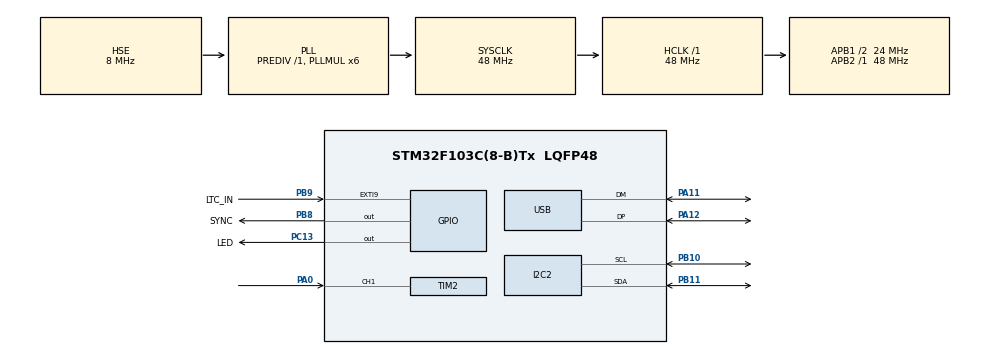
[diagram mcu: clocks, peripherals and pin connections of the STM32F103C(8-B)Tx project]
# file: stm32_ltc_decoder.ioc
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Dma.I2C2_TX.0.Direction=DMA_MEMORY_TO_PERIPH
Dma.I2C2_TX.0.Instance=DMA1_Channel4
Dma.I2C2_TX.0.MemDataAlignment=DMA_MDATAALIGN_BYTE
Dma.I2C2_TX.0.MemInc=DMA_MINC_ENABLE
Dma.I2C2_TX.0.Mode=DMA_NORMAL
Dma.I2C2_TX.0.PeriphDataAlignment=DMA_PDATAALIGN_BYTE
Dma.I2C2_TX.0.PeriphInc=DMA_PINC_DISABLE
Dma.I2C2_TX.0.Priority=DMA_PRIORITY_LOW
Dma.Request0=I2C2_TX
Mcu.Family=STM32F1
Mcu.Name=STM32F103C(8-B)Tx
Mcu.Package=LQFP48
NVIC.DMA1_Channel4_IRQn=true\:0\:0\:false\:false\:true\:false\:true\:true
NVIC.EXTI9_5_IRQn=true\:0\:0\:false\:false\:true\:true\:true\:true
NVIC.I2C2_ER_IRQn=true\:0\:0\:false\:false\:true\:true\:true\:true
NVIC.I2C2_EV_IRQn=true\:0\:0\:false\:false\:true\:true\:true\:true
NVIC.PriorityGroup=NVIC_PRIORITYGROUP_4
NVIC.RCC_IRQn=true\:0\:0\:false\:false\:true\:true\:false\:true
NVIC.TIM1_BRK_IRQn=true\:0\:0\:false\:false\:true\:true\:true\:true
NVIC.TIM1_CC_IRQn=true\:0\:0\:false\:false\:true\:true\:true\:true
NVIC.TIM1_TRG_COM_IRQn=true\:0\:0\:false\:false\:true\:true\:true\:true
NVIC.TIM1_UP_IRQn=true\:0\:0\:false\:false\:true\:true\:true\:true
NVIC.TIM2_IRQn=true\:0\:0\:false\:false\:true\:true\:true\:true
NVIC.USB_LP_CAN1_RX0_IRQn=true\:0\:0\:false\:false\:true\:false\:true\:true
PA0-WKUP.GPIO_PuPd=GPIO_PULLUP
PA0-WKUP.Signal=S_TIM2_CH1_ETR
PA11.Mode=Device
PA11.Signal=USB_DM
PA12.Mode=Device
PA12.Signal=USB_DP
PA13.Mode=Serial_Wire
PA13.Signal=SYS_JTMS-SWDIO
PA14.Mode=Serial_Wire
PA14.Signal=SYS_JTCK-SWCLK
PB10.Mode=I2C
PB10.Signal=I2C2_SCL
PB11.Mode=I2C
PB11.Signal=I2C2_SDA
PB8.GPIO_Label=SYNC
PB8.GPIO_Speed=GPIO_SPEED_FREQ_HIGH
PB8.Signal=GPIO_Output
PB9.GPIO_Label=LTC_IN
PB9.GPIO_ModeDefaultEXTI=GPIO_MODE_IT_RISING_FALLING
PB9.GPIO_PuPd=GPIO_PULLUP
PB9.Signal=GPXTI9
PC13-TAMPER-RTC.GPIO_Label=LED
PC13-TAMPER-RTC.GPIO_ModeDefaultOutputPP=GPIO_MODE_OUTPUT_OD
PC13-TAMPER-RTC.GPIO_PuPd=GPIO_NOPULL
PC13-TAMPER-RTC.Signal=GPIO_Output
PC14-OSC32_IN.Mode=LSE-External-Oscillator
PC14-OSC32_IN.Signal=RCC_OSC32_IN
PC15-OSC32_OUT.Mode=LSE-External-Oscillator
PC15-OSC32_OUT.Signal=RCC_OSC32_OUT
PD0-OSC_IN.Mode=HSE-External-Oscillator
PD0-OSC_IN.Signal=RCC_OSC_IN
PD1-OSC_OUT.Mode=HSE-External-Oscillator
PD1-OSC_OUT.Signal=RCC_OSC_OUT
ProjectManager.HeapSize=0x200
ProjectManager.StackSize=0x400
ProjectManager.TargetToolchain=STM32CubeIDE
RCC.AHBFreq_Value=48000000
RCC.APB1CLKDivider=RCC_HCLK_DIV2
RCC.APB1Freq_Value=24000000
RCC.APB1TimFreq_Value=48000000
RCC.APB2Freq_Value=48000000
RCC.APB2TimFreq_Value=48000000
RCC.HCLKFreq_Value=48000000
RCC.PLLMUL=RCC_PLL_MUL6
RCC.SYSCLKFreq_VALUE=48000000
RCC.SYSCLKSource=RCC_SYSCLKSOURCE_PLLCLK
RCC.USBFreq_Value=48000000
SH.S_TIM2_CH1_ETR.0=TIM2_CH1,PWM_Input_1
TIM1.Period=TIMER1_PERIOD
TIM1.Prescaler=TIMER1_PRESCALER
TIM2.Prescaler=0
USB_DEVICE.CLASS_NAME_FS=CDC
USB_DEVICE.VirtualMode=Cdc
USB_DEVICE.VirtualModeFS=Cdc_FS
VP_TIM1_VS_ClockSourceINT.Mode=Internal
VP_USB_DEVICE_VS_USB_DEVICE_CDC_FS.Mode=CDC_FS
board=custom

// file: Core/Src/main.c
/* USER CODE BEGIN Header */

/*
 * PAL TV Framerate is 25 fps.
 * Frame duration is 40ms (40000us)
 * Each bit is 500us
 * bit 0 is  1x500us
 * bit 1 is  2x250us
 *
 */

#define BIT_0_DUR 500
#define BIT_1_DUR 250
#define BIT_THRESHOLD 100

#define BIT_NONE 0
#define BIT_ZERO 1
#define BIT_ONE  2

//#define DURS_BUF 256

#ifdef DURS_BUF
volatile unsigned int durs_idx = 0;
volatile unsigned int durs_buf[DURS_BUF];
#endif

/* USER CODE END Header */
#include "main.h"
#include "dma.h"
#include "i2c.h"
#include "tim.h"
#include "usb_device.h"
#include "gpio.h"

/* USER CODE BEGIN Includes */
#include "usbd_cdc_if.h"
#include "SSD1306.h"
#include "font-14x30.h"
/* USER CODE END Includes */

/* USER CODE BEGIN PM */
#define TC_DISPLAY_UNKNOWN 	0xAAAAAAAA
#define TC_DISPLAY_NONE 	0xFFFFFFFF
/* USER CODE END PM */

/* USER CODE BEGIN PV */

SSD1306_DEF(oled1, hi2c2, SSD1306_I2C_ADDR, 32, 0);

/* USER CODE END PV */

void SystemClock_Config(void);

/* USER CODE BEGIN 0 */
volatile unsigned int ltc_last = 0;
uint32_t tc_display = TC_DISPLAY_UNKNOWN, tc_displayed = TC_DISPLAY_NONE;

#define TIMER1_DIV(DIV) if(!(timer1_cnt % DIV))
#define TIMER1_DIV_BLINK 50
volatile int timer1_cnt = 0;
static void timer1_cb(TIM_HandleTypeDef *htim)
{
	unsigned int now = HAL_GetTick();

	timer1_cnt++;

	/* check if we should solid led if no timecode detected */
	if((ltc_last + 1000) < now)
	{
		HAL_GPIO_WritePin(LED_GPIO_Port, LED_Pin, GPIO_PIN_RESET);
		tc_display = TC_DISPLAY_UNKNOWN;
	}
	else
	{
		/* blink fast it timecode detected */
		TIMER1_DIV(TIMER1_DIV_BLINK)
			HAL_GPIO_TogglePin(LED_GPIO_Port, LED_Pin);
	};
#if 0
	/* this is for debug timer */
	HAL_GPIO_WritePin(SYNC_GPIO_Port, SYNC_Pin, timer1_cnt % 3 ? GPIO_PIN_SET : GPIO_PIN_RESET);
#endif
	SSD1306_refresh(&oled1);
};

// https://habr.com/ru/articles/476582/
// https://community.st.com/t5/stm32-mcus-products/how-do-you-measure-the-execution-cpu-cycles-for-a-section-of/td-p/213709
volatile unsigned int *DWT_CYCCNT   = (volatile unsigned int *)0xE0001004;
volatile unsigned int *DWT_CONTROL  = (volatile unsigned int *)0xE0001000;
volatile unsigned int *DWT_LAR      = (volatile unsigned int *)0xE0001FB0;
volatile unsigned int *SCB_DHCSR    = (volatile unsigned int *)0xE000EDF0;
volatile unsigned int *SCB_DEMCR    = (volatile unsigned int *)0xE000EDFC;
volatile unsigned int *ITM_TER      = (volatile unsigned int *)0xE0000E00;
volatile unsigned int *ITM_TCR      = (volatile unsigned int *)0xE0000E80;

volatile unsigned int ltc_raw[2], ltc_found = 0;

volatile unsigned int bits_buffer[3], bits_count = 0;

#define SYNC_WORD 0xBFFC // 1011 1111 1111 1100

static void probe_ltc()
{
	if(bits_buffer[2] == SYNC_WORD)
	{
		ltc_found = bits_count;
		ltc_raw[0] = bits_buffer[0];
		ltc_raw[1] = bits_buffer[1];
		bits_count = 0;
	}
};

static void push_bit(int b)
{
	if(b == BIT_NONE)
		bits_count = 0;
	else
	{
		// shift
		bits_buffer[0] >>= 1;
		if(bits_buffer[1] & 1) bits_buffer[0] |= 0x80000000;
		bits_buffer[1] >>= 1;
		if(bits_buffer[2] & 1) bits_buffer[1] |= 0x80000000;
		bits_buffer[2] >>= 1;
		if(b == BIT_ONE)
			bits_buffer[2] |= (1 << 15);

		bits_count++;

		if(bits_count >= 80)
			probe_ltc();
	}
};

volatile unsigned int freq_cnt = 0;
volatile unsigned int bit_prev = BIT_NONE;

static void push_tick(unsigned int cnt)
{
	unsigned int dur;

	if(!freq_cnt)
	  freq_cnt = HAL_RCC_GetHCLKFreq() / 1000000;

	dur = cnt / freq_cnt;

	if((BIT_0_DUR - BIT_THRESHOLD) < dur && dur < (BIT_0_DUR + BIT_THRESHOLD))
	{
		bit_prev = BIT_NONE;
		push_bit(BIT_ZERO);
	}
	else if((BIT_1_DUR - BIT_THRESHOLD) < dur && dur < (BIT_1_DUR + BIT_THRESHOLD))
	{
		if(bit_prev)
		{
			bit_prev = BIT_NONE;
			push_bit(BIT_ONE);
		}
		else
			bit_prev = BIT_ONE;
	}
	else
	{
#ifdef DURS_BUF
		durs_buf[durs_idx] = dur; durs_idx = (durs_idx + 1) % DURS_BUF;
#endif
		bit_prev = BIT_NONE;
		push_bit(BIT_NONE);
	}
};

void HAL_GPIO_EXTI_Callback(uint16_t GPIO_Pin)
{
	unsigned int cnt;

	if(GPIO_Pin != LTC_IN_Pin)
		return;

	cnt = *DWT_CYCCNT;
	*DWT_CYCCNT = 0;

	push_tick(cnt);
};

//  https://controllerstech.com/pwm-input-in-stm32/
void HAL_TIM_IC_CaptureCallback(TIM_HandleTypeDef *htim)
{
	if (htim->Channel == HAL_TIM_ACTIVE_CHANNEL_1)
	{
		uint32_t per, high, low;

		// Read the IC value
		per = HAL_TIM_ReadCapturedValue(htim, TIM_CHANNEL_1);
		high = HAL_TIM_ReadCapturedValue(htim, TIM_CHANNEL_2);
		if(per)
		{
			low = per - high;

			push_tick(high);
			push_tick(low);
		}
	}
};

static uint32_t console_font_14x30_transposed[16 /* glyphs */][14 /* width */];

static void console_font_14x30_transpose()
{
	int g;

	for(g = 0; g < 12; g++)
	{
		int w, b, o;
		const uint8_t *src_row = console_font_14x30 + 2 * 30 * g;

		for(w = 0, o = 0, b = 0x80; w < 14; w++, b >>= 1)
		{
			int h;
			uint32_t W = 0;

			if(!b)
			{
				b = 0x80;
				o = 1;
			}

			for(h = 0; h < 30; h++)
				if(src_row[h * 2 + o] & b)
					W |= 1 << h;

			console_font_14x30_transposed[g][w] = W << 4;
		}
	};
}

volatile int semicolon_offset = 3;

/* USER CODE END 0 */

int main(void)
{

  /* USER CODE BEGIN 1 */
  unsigned char str[13] = "--:--:--:--\r\n";
  const unsigned char str_map[16] = "0123456789ABCDEF";
  /* USER CODE END 1 */

  /* MCU Configuration--------------------------------------------------------*/

  /* Reset of all peripherals, Initializes the Flash interface and the Systick. */
  HAL_Init();

  /* Configure the system clock */
  SystemClock_Config();

  /* Initialize all configured peripherals */
  MX_GPIO_Init();
  MX_DMA_Init();
  MX_USB_DEVICE_Init();
  MX_TIM2_Init();
  MX_TIM1_Init();
  MX_I2C2_Init();
  /* USER CODE BEGIN 2 */

  // setup and init oled display
  console_font_14x30_transpose();
  SSD1306_setup(&oled1);

  // https://habr.com/ru/articles/476582/
  // https://community.st.com/t5/stm32-mcus-products/how-do-you-measure-the-execution-cpu-cycles-for-a-section-of/td-p/213709
  *SCB_DEMCR |= 0x01000000;
  *DWT_LAR = 0xC5ACCE55; // enable access
  *DWT_CYCCNT = 0; // reset the counter
  *DWT_CONTROL |= 1 ; // enable the counter

  // start timer
  HAL_TIM_RegisterCallback(&htim1, HAL_TIM_PERIOD_ELAPSED_CB_ID, timer1_cb);
  HAL_TIM_Base_Start_IT(&htim1);

  // start PWM counters
  HAL_TIM_IC_Start_IT(&htim2, TIM_CHANNEL_1);
  HAL_TIM_IC_Start(&htim2, TIM_CHANNEL_2);

  /* USER CODE END 2 */

  /* Infinite loop */
  /* USER CODE BEGIN WHILE */
  while (1)
  {

	  if(ltc_found == 80)
	  {
		  uint32_t tc = 0;

		  ltc_found = 0;

		  tc |= (ltc_raw[0] & 0x0000000F) >> 0;
		  tc |= (ltc_raw[0] & 0x00000300) >> 4;
		  tc |= (ltc_raw[0] & 0x000F0000) >> 8;
		  tc |= (ltc_raw[0] & 0x07000000) >> 12;

		  tc |= (ltc_raw[1] & 0x0000000F) << 16;
		  tc |= (ltc_raw[1] & 0x00000700) << 12;
		  tc |= (ltc_raw[1] & 0x000F0000) << 8;
		  tc |= (ltc_raw[1] & 0x03000000) << 4;

		  tc_display = tc;

		  str[10] = str_map[ tc & 0x0F ]; tc >>= 4;
		  str[ 9] = str_map[ tc & 0x0F ]; tc >>= 4;
		  str[ 7] = str_map[ tc & 0x0F ]; tc >>= 4;
		  str[ 6] = str_map[ tc & 0x0F ]; tc >>= 4;
		  str[ 4] = str_map[ tc & 0x0F ]; tc >>= 4;
		  str[ 3] = str_map[ tc & 0x0F ]; tc >>= 4;
		  str[ 1] = str_map[ tc & 0x0F ]; tc >>= 4;
		  str[ 0] = str_map[ tc & 0x0F ]; tc >>= 4;

		  ltc_last = HAL_GetTick();

		  CDC_Transmit_FS(str, sizeof(str));

	  }

	  if(tc_display != tc_displayed && !oled1.dirty && !oled1.busy)
	  {
		  uint32_t bcd;
		  int i = 0, j, s;
#if 1
		  /* this is for estimating display rendering time */
		  HAL_GPIO_WritePin(SYNC_GPIO_Port, SYNC_Pin, GPIO_PIN_SET);
#endif
		  bcd = tc_display;
		  tc_displayed = tc_display;

		  for(j = 0, s = 28; j < 8; j++, s -= 4)
		  {
			  int w, g;

			  // spacer
			  if(j && !(j & 1))
			  for(w = 0; w < 5; w++, i++)
			  {
				  uint32_t W = console_font_14x30_transposed[11 /* glyphs */][w + semicolon_offset /* width */];

				  oled1.fb[0][SSD1306_DATA_OFFSET + i] = W >>  0;
				  oled1.fb[1][SSD1306_DATA_OFFSET + i] = W >>  8;
				  oled1.fb[2][SSD1306_DATA_OFFSET + i] = W >> 16;
				  oled1.fb[3][SSD1306_DATA_OFFSET + i] = W >> 24;
			  }

			  // find glyph index
			  g = bcd >> s;
			  g &= 0x0F;
			  if(g > 10) g = 10;

			  // copy glyph bitmap data
			  for(w = 0; w < 14; w++, i++)
			  {
				  uint32_t W = console_font_14x30_transposed[g /* glyphs */][w /* width */];

				  oled1.fb[0][SSD1306_DATA_OFFSET + i] = W >>  0;
				  oled1.fb[1][SSD1306_DATA_OFFSET + i] = W >>  8;
				  oled1.fb[2][SSD1306_DATA_OFFSET + i] = W >> 16;
				  oled1.fb[3][SSD1306_DATA_OFFSET + i] = W >> 24;
			  }
		  }

		  // mark page dirty
		  oled1.dirty = 0x0f;
#if 1
		  /* this is for estimating display rendering time */
		  HAL_GPIO_WritePin(SYNC_GPIO_Port, SYNC_Pin, GPIO_PIN_RESET);
#endif
	  }

    /* USER CODE END WHILE */

  }
}

void SystemClock_Config(void)
{
  RCC_OscInitTypeDef RCC_OscInitStruct = {0};
  RCC_ClkInitTypeDef RCC_ClkInitStruct = {0};
  RCC_PeriphCLKInitTypeDef PeriphClkInit = {0};

  /** Initializes the RCC Oscillators according to the specified parameters
  * in the RCC_OscInitTypeDef structure.
  */
  RCC_OscInitStruct.OscillatorType = RCC_OSCILLATORTYPE_HSE;
  RCC_OscInitStruct.HSEState = RCC_HSE_ON;
  RCC_OscInitStruct.HSEPredivValue = RCC_HSE_PREDIV_DIV1;
  RCC_OscInitStruct.HSIState = RCC_HSI_ON;
  RCC_OscInitStruct.PLL.PLLState = RCC_PLL_ON;
  RCC_OscInitStruct.PLL.PLLSource = RCC_PLLSOURCE_HSE;
  RCC_OscInitStruct.PLL.PLLMUL = RCC_PLL_MUL6;
  if (HAL_RCC_OscConfig(&RCC_OscInitStruct) != HAL_OK)
  {
    Error_Handler();
  }

  /** Initializes the CPU, AHB and APB buses clocks
  */
  RCC_ClkInitStruct.ClockType = RCC_CLOCKTYPE_HCLK|RCC_CLOCKTYPE_SYSCLK
                              |RCC_CLOCKTYPE_PCLK1|RCC_CLOCKTYPE_PCLK2;
  RCC_ClkInitStruct.SYSCLKSource = RCC_SYSCLKSOURCE_PLLCLK;
  RCC_ClkInitStruct.AHBCLKDivider = RCC_SYSCLK_DIV1;
  RCC_ClkInitStruct.APB1CLKDivider = RCC_HCLK_DIV2;
  RCC_ClkInitStruct.APB2CLKDivider = RCC_HCLK_DIV1;

  if (HAL_RCC_ClockConfig(&RCC_ClkInitStruct, FLASH_LATENCY_1) != HAL_OK)
  {
    Error_Handler();
  }
  PeriphClkInit.PeriphClockSelection = RCC_PERIPHCLK_USB;
  PeriphClkInit.UsbClockSelection = RCC_USBCLKSOURCE_PLL;
  if (HAL_RCCEx_PeriphCLKConfig(&PeriphClkInit) != HAL_OK)
  {
    Error_Handler();
  }
}

void Error_Handler(void)
{
  __disable_irq();
  while (1)
  {
  }
}
